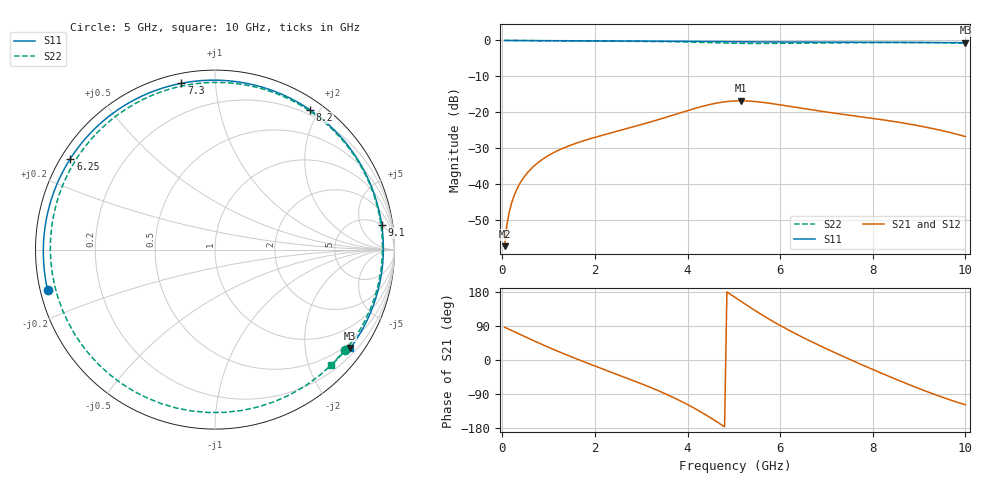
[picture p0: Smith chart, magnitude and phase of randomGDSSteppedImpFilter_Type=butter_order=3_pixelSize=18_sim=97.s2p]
! freq	dB(S11)	phase(S11)	dB(S12)	phase(S12)
!  dB(S21)	phase(S21)	dB(S22)	phase(S22)
!S-par simulation data
#  GHz  S  DB  R 50
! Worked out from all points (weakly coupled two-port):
!   200 points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, 50 MHz to 10 GHz, reference 50 ohm
!   highest |S21| = -16.78 dB at 5.15 GHz (marker M1); lowest = -57.2 dB at 50 MHz (marker M2)
!   lowest |S11| = -0.6 dB at 10 GHz (marker M3), VSWR 28.52, Z = 18.1 - j152 ohm
!   |S11| at or under -10 dB: nowhere
!   |S22| runs from -0.8 to 0.0 dB; largest |S21 - S12| = 0
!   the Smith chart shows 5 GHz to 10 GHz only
!   S11 on the Smith chart (normalised r, x): 5 GHz: 0.02, -0.12; 6.25 GHz: 0.03, +0.29; 7.3 GHz: 0.05, +0.82; 8.2 GHz: 0.14, +1.88; 9.1 GHz: 5, +12; 10 GHz: 0.36, -3.03
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0.05  -0.00 -1.8  -57.16 86.4  -57.16 86.4  -0.00 -4.1
0.2  -0.01 -7.1  -45.21 78.1  -45.21 78.1  -0.02 -16.3
0.5  -0.02 -17.6  -37.45 60.9  -37.45 60.9  -0.05 -40.2
1.1  -0.05 -38.4  -31.23 28.2  -31.23 28.2  -0.10 -85.2
1.75  -0.08 -60.5  -27.90 -4.0  -27.90 -4.0  -0.14 -128.8
2.6  -0.13 -88.6  -24.81 -43.5  -24.81 -43.5  -0.20 178.6
3.4  -0.18 -114.3  -21.87 -82.6  -21.87 -82.6  -0.29 125.4
3.8  -0.22 -127.2  -20.29 -105.1  -20.29 -105.1  -0.37 93.9
4.15  -0.25 -138.4  -18.92 -127.5  -18.92 -127.5  -0.47 61.5
4.6  -0.31 -153.1  -17.48 -160.5  -17.48 -160.5  -0.64 12.0
5  -0.36 -166.4  -16.83 167.3  -16.83 167.3  -0.78 -37.5
5.05  -0.36 -168.1  -16.80 163.2  -16.80 163.2  -0.79 -43.8
5.15  -0.37 -171.5  -16.78 155.0  -16.78 155.0  -0.81 -56.3
5.6  -0.40 172.7  -17.16 119.7  -17.16 119.7  -0.83 -109.2
5.95  -0.41 159.6  -17.79 94.6  -17.79 94.6  -0.80 -144.7
6.25  -0.43 147.8  -18.41 74.7  -18.41 74.7  -0.76 -171.5
6.7  -0.45 128.9  -19.32 47.0  -19.32 47.0  -0.71 153.3
7.3  -0.49 101.4  -20.43 12.7  -20.43 12.7  -0.65 112.2
8.2  -0.52 55.9  -22.02 -35.5  -22.02 -35.5  -0.58 57.1
8.35  -0.53 47.9  -22.31 -43.2  -22.31 -43.2  -0.57 48.4
9.1  -0.55 8.4  -23.97 -80.2  -23.97 -80.2  -0.59 6.1
10  -0.61 -36.1  -26.71 -118.2  -26.71 -118.2  -0.79 -44.8
